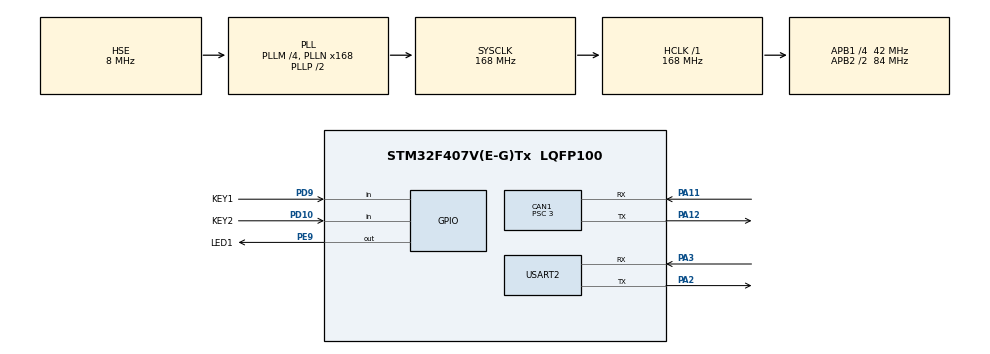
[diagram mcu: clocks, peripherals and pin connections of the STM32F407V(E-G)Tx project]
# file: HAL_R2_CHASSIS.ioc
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CAN1.BS1=CAN_BS1_9TQ
CAN1.BS2=CAN_BS2_4TQ
CAN1.CalculateBaudRate=1000000
CAN1.CalculateTimeBit=1000
CAN1.CalculateTimeQuantum=71.42857142857143
CAN1.Prescaler=3
FREERTOS.Events01=myEvent01,Dynamic,NULL
FREERTOS.Tasks01=defaultTask,24,128,StartDefaultTask,Default,NULL,Dynamic,NULL,NULL;myTask02,26,128,StartTask02,Default,NULL,Dynamic,NULL,NULL
Mcu.Family=STM32F4
Mcu.Name=STM32F407V(E-G)Tx
Mcu.Package=LQFP100
NVIC.CAN1_RX0_IRQn=true\:5\:0\:false\:false\:true\:true\:true\:true\:true
NVIC.PriorityGroup=NVIC_PRIORITYGROUP_4
NVIC.TIM2_IRQn=true\:15\:0\:false\:false\:true\:false\:false\:true\:true
NVIC.TimeBase=TIM2_IRQn
NVIC.TimeBaseIP=TIM2
PA11.Mode=CAN_Activate
PA11.Signal=CAN1_RX
PA12.Mode=CAN_Activate
PA12.Signal=CAN1_TX
PA13.Mode=Serial_Wire
PA13.Signal=SYS_JTMS-SWDIO
PA14.Mode=Serial_Wire
PA14.Signal=SYS_JTCK-SWCLK
PA2.GPIO_PuPd=GPIO_PULLUP
PA2.Mode=Asynchronous
PA2.Signal=USART2_TX
PA3.GPIO_PuPd=GPIO_PULLUP
PA3.Mode=Asynchronous
PA3.Signal=USART2_RX
PD10.GPIO_Label=KEY2
PD10.GPIO_PuPd=GPIO_PULLUP
PD10.Signal=GPIO_Input
PD9.GPIO_Label=KEY1
PD9.GPIO_PuPd=GPIO_PULLUP
PD9.Signal=GPIO_Input
PE9.GPIO_Label=LED1
PE9.GPIO_Speed=GPIO_SPEED_FREQ_HIGH
PE9.PinState=GPIO_PIN_SET
PE9.Signal=GPIO_Output
PH0-OSC_IN.Mode=HSE-External-Oscillator
PH0-OSC_IN.Signal=RCC_OSC_IN
PH1-OSC_OUT.Mode=HSE-External-Oscillator
PH1-OSC_OUT.Signal=RCC_OSC_OUT
ProjectManager.HeapSize=0x200
ProjectManager.StackSize=0x400
ProjectManager.TargetToolchain=MDK-ARM V5.32
RCC.48MHZClocksFreq_Value=84000000
RCC.AHBFreq_Value=168000000
RCC.APB1CLKDivider=RCC_HCLK_DIV4
RCC.APB1Freq_Value=42000000
RCC.APB1TimFreq_Value=84000000
RCC.APB2CLKDivider=RCC_HCLK_DIV2
RCC.APB2Freq_Value=84000000
RCC.APB2TimFreq_Value=168000000
RCC.CortexFreq_Value=168000000
RCC.HCLKFreq_Value=168000000
RCC.HSE_VALUE=8000000
RCC.HSI_VALUE=16000000
RCC.LSE_VALUE=32768
RCC.PLLM=4
RCC.PLLN=168
RCC.PLLSourceVirtual=RCC_PLLSOURCE_HSE
RCC.SYSCLKFreq_VALUE=168000000
RCC.SYSCLKSource=RCC_SYSCLKSOURCE_PLLCLK
RCC.VCOOutputFreq_Value=336000000
USART2.VirtualMode=VM_ASYNC
VP_FREERTOS_VS_CMSIS_V2.Mode=CMSIS_V2
VP_SYS_VS_tim2.Mode=TIM2
board=custom

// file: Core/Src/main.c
/* USER CODE BEGIN Header */
/**
  ******************************************************************************
  * @file           : main.c
  * @brief          : Main program body
  ******************************************************************************
  * @attention
  *
  * Copyright (c) 2023 STMicroelectronics.
  * All rights reserved.
  *
  * This software is licensed under terms that can be found in the LICENSE file
  * in the root directory of this software component.
  * If no LICENSE file comes with this software, it is provided AS-IS.
  *
  ******************************************************************************
  */
/* USER CODE END Header */
#include "main.h"
#include "cmsis_os.h"
#include "can.h"
#include "usart.h"
#include "gpio.h"

void SystemClock_Config(void);
void MX_FREERTOS_Init(void);

int main(void)
{

  /* MCU Configuration--------------------------------------------------------*/

  /* Reset of all peripherals, Initializes the Flash interface and the Systick. */
  HAL_Init();

  /* Configure the system clock */
  SystemClock_Config();

  /* Initialize all configured peripherals */
  MX_GPIO_Init();
  MX_CAN1_Init();
  MX_USART2_UART_Init();
  /* USER CODE BEGIN 2 */

  //各电机pid参数的初始化

  /* USER CODE END 2 */

  /* Init scheduler */
  osKernelInitialize();  /* Call init function for freertos objects (in freertos.c) */
  MX_FREERTOS_Init();

  /* Start scheduler */
  osKernelStart();
  /* We should never get here as control is now taken by the scheduler */
  /* Infinite loop */
  while (1)
  {

  }
}

void SystemClock_Config(void)
{
  RCC_OscInitTypeDef RCC_OscInitStruct = {0};
  RCC_ClkInitTypeDef RCC_ClkInitStruct = {0};

  /** Configure the main internal regulator output voltage
  */
  __HAL_RCC_PWR_CLK_ENABLE();
  __HAL_PWR_VOLTAGESCALING_CONFIG(PWR_REGULATOR_VOLTAGE_SCALE1);

  /** Initializes the RCC Oscillators according to the specified parameters
  * in the RCC_OscInitTypeDef structure.
  */
  RCC_OscInitStruct.OscillatorType = RCC_OSCILLATORTYPE_HSE;
  RCC_OscInitStruct.HSEState = RCC_HSE_ON;
  RCC_OscInitStruct.PLL.PLLState = RCC_PLL_ON;
  RCC_OscInitStruct.PLL.PLLSource = RCC_PLLSOURCE_HSE;
  RCC_OscInitStruct.PLL.PLLM = 4;
  RCC_OscInitStruct.PLL.PLLN = 168;
  RCC_OscInitStruct.PLL.PLLP = RCC_PLLP_DIV2;
  RCC_OscInitStruct.PLL.PLLQ = 4;
  if (HAL_RCC_OscConfig(&RCC_OscInitStruct) != HAL_OK)
  {
    Error_Handler();
  }

  /** Initializes the CPU, AHB and APB buses clocks
  */
  RCC_ClkInitStruct.ClockType = RCC_CLOCKTYPE_HCLK|RCC_CLOCKTYPE_SYSCLK
                              |RCC_CLOCKTYPE_PCLK1|RCC_CLOCKTYPE_PCLK2;
  RCC_ClkInitStruct.SYSCLKSource = RCC_SYSCLKSOURCE_PLLCLK;
  RCC_ClkInitStruct.AHBCLKDivider = RCC_SYSCLK_DIV1;
  RCC_ClkInitStruct.APB1CLKDivider = RCC_HCLK_DIV4;
  RCC_ClkInitStruct.APB2CLKDivider = RCC_HCLK_DIV2;

  if (HAL_RCC_ClockConfig(&RCC_ClkInitStruct, FLASH_LATENCY_5) != HAL_OK)
  {
    Error_Handler();
  }
}

void HAL_TIM_PeriodElapsedCallback(TIM_HandleTypeDef *htim)
{
  if (htim->Instance == TIM2) {
    HAL_IncTick();
  }
}

void Error_Handler(void)
{
  __disable_irq();
  while (1)
  {
  }
}

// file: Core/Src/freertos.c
/* USER CODE BEGIN Header */
/**
  ******************************************************************************
  * File Name          : freertos.c
  * Description        : Code for freertos applications
  ******************************************************************************
  * @attention
  *
  * Copyright (c) 2023 STMicroelectronics.
  * All rights reserved.
  *
  * This software is licensed under terms that can be found in the LICENSE file
  * in the root directory of this software component.
  * If no LICENSE file comes with this software, it is provided AS-IS.
  *
  ******************************************************************************
  */
/* USER CODE END Header */

#include "FreeRTOS.h"
#include "task.h"
#include "main.h"
#include "cmsis_os.h"

/* Definitions for defaultTask */
osThreadId_t defaultTaskHandle;
const osThreadAttr_t defaultTask_attributes = {
  .name = "defaultTask",
  .stack_size = 128 * 4,
  .priority = (osPriority_t) osPriorityNormal,
};
/* Definitions for myTask02 */
osThreadId_t myTask02Handle;
const osThreadAttr_t myTask02_attributes = {
  .name = "myTask02",
  .stack_size = 128 * 4,
  .priority = (osPriority_t) osPriorityNormal2,
};
/* Definitions for myEvent01 */
osEventFlagsId_t myEvent01Handle;
const osEventFlagsAttr_t myEvent01_attributes = {
  .name = "myEvent01"
};

/* USER CODE BEGIN FunctionPrototypes */
	#include "user_can_init.h"
	#include "chassis.h"
	#include "pid.h"
	#include "queue.h"
	#include "event_groups.h"

	extern ROBOT_CHASSIS ROBOT_CHASSI;

	#define KEY1_EVENT  (0x01 << 0)//设置事件掩码的位0
	#define KEY2_EVENT  (0x01 << 1)//设置事件掩码的位1
/* USER CODE END FunctionPrototypes */

void StartDefaultTask(void *argument);
void StartTask02(void *argument);

void MX_FREERTOS_Init(void); /* (MISRA C 2004 rule 8.1) */

void MX_FREERTOS_Init(void) {

  /* Create the thread(s) */
  /* creation of defaultTask */
  defaultTaskHandle = osThreadNew(StartDefaultTask, NULL, &defaultTask_attributes);

  /* creation of myTask02 */
  myTask02Handle = osThreadNew(StartTask02, NULL, &myTask02_attributes);

  /* Create the event(s) */
  /* creation of myEvent01 */
  myEvent01Handle = osEventFlagsNew(&myEvent01_attributes);

}

void StartDefaultTask(void *argument)
{
  /* USER CODE BEGIN StartDefaultTask */
	User_Open_Can();

  Pid_Init_All();
  Motor_Type_Init();

	ROBOT_CHASSI.SPEED.Robot_VX = 0;
	ROBOT_CHASSI.SPEED.Robot_VY = 0;
	ROBOT_CHASSI.SPEED.World_W = 0;

	EventBits_t r_event;
	uint16_t flag=0;

  /* Infinite loop */
  for(;;)
  {
	  r_event = xEventGroupWaitBits(myEvent01Handle,  /* 事件对象句柄 */
									  KEY1_EVENT|KEY2_EVENT,/* 接收线程感兴趣的事件 */
									  pdTRUE,   /* 退出时清除事件位 */
									  pdTRUE,   /* 满足感兴趣的所有事件 */
									  0);/* 指定超时事件,一直等 */

	  if((r_event & (KEY1_EVENT|KEY2_EVENT)) == (KEY1_EVENT|KEY2_EVENT))
	  {
		flag=!flag;
	  }

	  if(flag)
	  {
      ROBOT_CHASSI.SPEED.Robot_VX = 0;
      ROBOT_CHASSI.SPEED.Robot_VY = 0;
      ROBOT_CHASSI.SPEED.World_W = 1;
      MOTO_REAL_INFO[0].Velocity_Tarque.Flag = 0;
      HAL_GPIO_WritePin(LED1_GPIO_Port, LED1_Pin, GPIO_PIN_SET);
	  }
	  else
	  {
      ROBOT_CHASSI.SPEED.Robot_VX = 0;
      ROBOT_CHASSI.SPEED.Robot_VY = 0;
      ROBOT_CHASSI.SPEED.World_W = 0;
      HAL_GPIO_WritePin(LED1_GPIO_Port, LED1_Pin, GPIO_PIN_RESET);
	  }

	  Robot_Wheels_Adjust();
	  osDelay(1);
  }
  /* USER CODE END StartDefaultTask */
}

void StartTask02(void *argument)
{
  /* USER CODE BEGIN StartTask02 */
  /* Infinite loop */
  for(;;)
  {
    if(HAL_GPIO_ReadPin(KEY1_GPIO_Port,KEY1_Pin)==0)
    {
      osDelay(20);
      printf("按键1按下\r\n");
      while(HAL_GPIO_ReadPin(KEY1_GPIO_Port,KEY1_Pin)==0);
      xEventGroupSetBits(myEvent01Handle,KEY1_EVENT);
    }

    if(HAL_GPIO_ReadPin(KEY2_GPIO_Port,KEY2_Pin)==0)
    {
      osDelay(20);
      printf("按键2按下\r\n");
      while(HAL_GPIO_ReadPin(KEY2_GPIO_Port,KEY2_Pin)==0);
      xEventGroupSetBits(myEvent01Handle,KEY2_EVENT);
    }
      osDelay(20);
  }
  /* USER CODE END StartTask02 */
}
